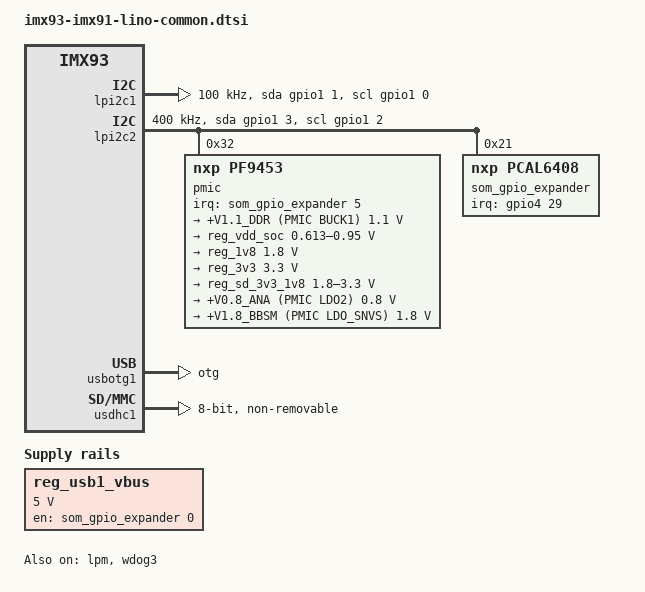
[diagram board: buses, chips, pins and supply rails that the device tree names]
// SPDX-License-Identifier: GPL-2.0-or-later OR MIT
/*
 * Copyright (C) 2025 Toradex
 *
 * Lino iMX93/iMX91 SoM
 *
 * https://www.toradex.com/computer-on-modules/lino-arm-family/nxp-imx93
 * https://www.toradex.com/computer-on-modules/lino-arm-family/nxp-imx91
 */

#include <dt-bindings/gpio/gpio.h>
#include <dt-bindings/interrupt-controller/irq.h>

/ {
	aliases {
		i2c0 = &lpi2c2;
		i2c1 = &lpi2c1;
		ethernet0 = &eqos;
		mmc0 = &usdhc1;
		serial2 = &lpuart1;
	};

	chosen {
		stdout-path = &lpuart1;
	};

	reserved-memory {
		#address-cells = <2>;
		#size-cells = <2>;
		ranges;

		// TODO: move to 0x87de0000 (below 256MB)
		ele_reserved: memory@a4120000 {
			compatible = "shared-dma-pool";
			reg = <0 0xa4120000 0 0x100000>;
			no-map;
		};
	};

	reg_usb1_vbus: regulator-usb1-vbus {
		compatible = "regulator-fixed";
		/* Lino USB_1_EN (P27) */
		gpios = <&som_gpio_expander 0 GPIO_ACTIVE_HIGH>;
		enable-active-high;
		regulator-max-microvolt = <5000000>;
		regulator-min-microvolt = <5000000>;
		regulator-name = "USB_1_EN";
		startup-delay-us = <20000>;
	};
};

&ele_fw2 {
	memory-region = <&ele_reserved>;
};

/* Lino ETH_1 */
&eqos {
	pinctrl-names = "default";
	pinctrl-0 = <&pinctrl_mdio>, <&pinctrl_eth1>;

	mdio: mdio {
		compatible = "snps,dwmac-mdio";
		#address-cells = <1>;
		#size-cells = <0>;
		status = "disabled";
	};
};

/* Lino I2C_1 */
&lpi2c1 {
	pinctrl-names = "default", "gpio";
	pinctrl-0 = <&pinctrl_i2c1>;
	pinctrl-1 = <&pinctrl_i2c1_gpio>;
	#address-cells = <1>;
	#size-cells = <0>;
	clock-frequency = <100000>;
	scl-gpios = <&gpio1 0 (GPIO_ACTIVE_HIGH | GPIO_OPEN_DRAIN)>;
	sda-gpios = <&gpio1 1 (GPIO_ACTIVE_HIGH | GPIO_OPEN_DRAIN)>;
	single-master;
};

/* On-module I2C - PMIC_I2C */
&lpi2c2 {
	pinctrl-names = "default", "gpio";
	pinctrl-0 = <&pinctrl_pmic_i2c>;
	pinctrl-1 = <&pinctrl_pmic_i2c_gpio>;
	#address-cells = <1>;
	#size-cells = <0>;
	clock-frequency = <400000>;
	scl-gpios = <&gpio1 2 (GPIO_ACTIVE_HIGH | GPIO_OPEN_DRAIN)>;
	sda-gpios = <&gpio1 3 (GPIO_ACTIVE_HIGH | GPIO_OPEN_DRAIN)>;
	single-master;
	status = "okay";

	pmic@32 {
		compatible = "nxp,pf9453";
		reg = <0x32>;
		interrupt-parent = <&som_gpio_expander>;
		interrupts = <5 IRQ_TYPE_EDGE_FALLING>;

		regulators {
			BUCK1 {
				regulator-always-on;
				regulator-boot-on;
				regulator-name = "+V1.1_DDR (PMIC BUCK1)";
				regulator-max-microvolt = <1100000>;
				regulator-min-microvolt = <1100000>;
			};

			reg_vdd_soc: BUCK2 {
				regulator-always-on;
				regulator-boot-on;
				regulator-name = "+VDD_SOC (PMIC BUCK2)";
				regulator-max-microvolt = <950000>;
				regulator-min-microvolt = <612500>;
				regulator-ramp-delay = <12500>;
			};

			reg_1v8: BUCK3 {
				regulator-always-on;
				regulator-boot-on;
				regulator-name = "+V1.8 / +V1.8_ANA (PMIC BUCK3)";
				regulator-max-microvolt = <1800000>;
				regulator-min-microvolt = <1800000>;
			};

			reg_3v3: BUCK4 {
				regulator-always-on;
				regulator-boot-on;
				regulator-name = "+V3.3 (PMIC BUCK4)";
				regulator-max-microvolt = <3300000>;
				regulator-min-microvolt = <3300000>;
			};

			reg_sd_3v3_1v8: LDO1 {
				regulator-always-on;
				regulator-boot-on;
				regulator-name = "+V3.3_1.8_SD (PMIC LDO1)";
				regulator-max-microvolt = <3300000>;
				regulator-min-microvolt = <1800000>;
			};

			LDO2 {
				regulator-always-on;
				regulator-boot-on;
				regulator-name = "+V0.8_ANA (PMIC LDO2)";
				regulator-max-microvolt = <800000>;
				regulator-min-microvolt = <800000>;
			};

			LDO_SNVS {
				regulator-always-on;
				regulator-boot-on;
				regulator-name = "+V1.8_BBSM (PMIC LDO_SNVS)";
				regulator-max-microvolt = <1800000>;
				regulator-min-microvolt = <1800000>;
			};
		};
	};

	som_gpio_expander: gpio@21 {
		compatible = "nxp,pcal6408";
		reg = <0x21>;
		pinctrl-names = "default";
		pinctrl-0 = <&pinctrl_gpio_exp_int>;
		#interrupt-cells = <2>;
		interrupt-controller;
		interrupt-parent = <&gpio4>;
		interrupts = <29 IRQ_TYPE_LEVEL_LOW>;
		#gpio-cells = <2>;
		gpio-controller;
		gpio-line-names =
			"Lino_P27", /* Lino USB_1_EN */
			"Lino_P61", /* Lino USB_2_EN */
			"TPM_SPI_CS#",
			"Lino_P29", /* Lino USB_1_OC# */
			"Lino_P63", /* Lino USB_2_OC# */
			"PMIC_INT#",
			"TPM_IRQ#",
			"Lino_S66";
	};
};

&lpm {
	soc-supply = <&reg_vdd_soc>;
	status = "okay";
};

/* Lino UART_3, used as the Linux Console */
&lpuart1 {
	pinctrl-names = "default";
	pinctrl-0 = <&pinctrl_uart3>;
};

/* Lino USB_1 */
&usbotg1 {
	dr_mode = "otg";
	adp-disable;
	hnp-disable;
	srp-disable;
	usb-role-switch;
	disable-over-current;
	role-switch-default-mode = "peripheral";
	samsung,picophy-dc-vol-level-adjust = <7>;
	samsung,picophy-pre-emp-curr-control = <3>;
};

/* On-module eMMC */
&usdhc1 {
	pinctrl-names = "default", "state_100mhz", "state_200mhz";
	pinctrl-0 = <&pinctrl_usdhc1>;
	pinctrl-1 = <&pinctrl_usdhc1>;
	pinctrl-2 = <&pinctrl_usdhc1>;
	bus-width = <8>;
	non-removable;
	no-sdio;
	no-sd;
	status = "okay";
};

&wdog3 {
	pinctrl-names = "default";
	pinctrl-0 = <&pinctrl_wdog>;
	fsl,ext-reset-output;
	status = "okay";
};
